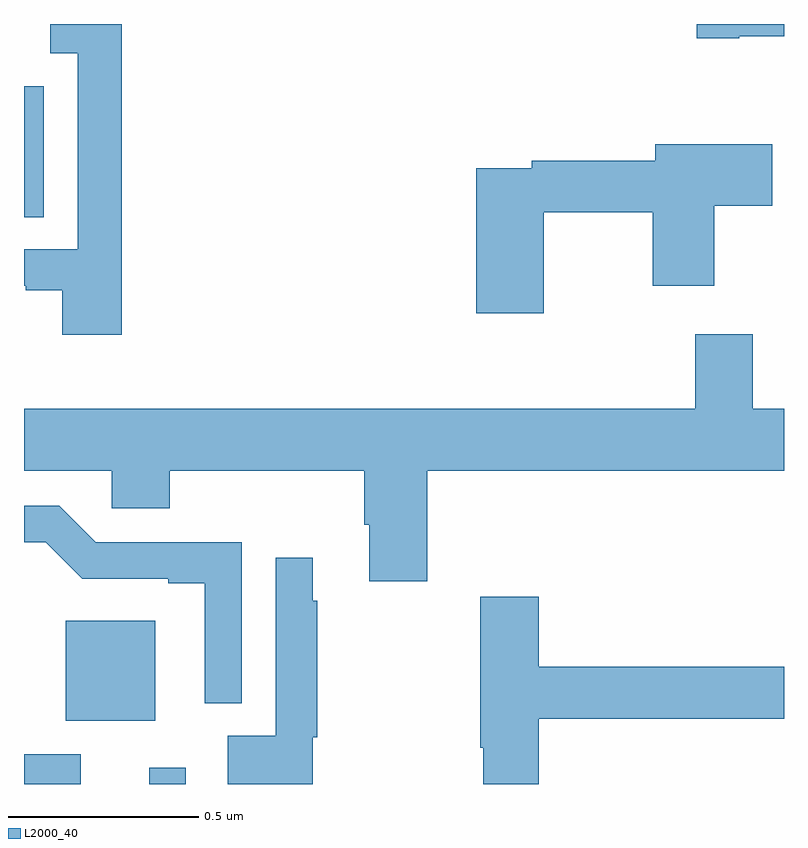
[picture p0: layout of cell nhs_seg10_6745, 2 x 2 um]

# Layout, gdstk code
import gdstk
lib = gdstk.Library(unit=1e-6, precision=1e-09)
def R(c, l, rs):  # rectangles x0, y0, x1, y1
    for r in rs: c.add(gdstk.rectangle(r[:2], r[2:], *l))
def P(c, l, *ps):  # polygons
    for p in ps: c.add(gdstk.Polygon(p, *l))
L2000_40 = (2000, 40)

nhs_seg10_6745 = lib.new_cell('nhs_seg10_6745')
R(nhs_seg10_6745, L2000_40, [(195,1291.5,195.149,1291.578), (195.329,1291.5,195.426,1291.543), (195.11,1291.667,195.346,1291.93), (195,1292.992,195.052,1293.336)])
P(nhs_seg10_6745, L2000_40, [(196.882,1293.468),(197,1293.468),(197,1293.5),(196.77,1293.5),(196.77,1293.463),(196.882,1293.463)],
  [(195.257,1293.5),(195.069,1293.5),(195.069,1293.423),(195.141,1293.423),(195.141,1292.907),(195,1292.907),(195,1292.811),(195.005,1292.811),(195.005,1292.799),(195.101,1292.799),(195.101,1292.682),(195.257,1292.682)],
  [(196.368,1293.004),(196.654,1293.004),(196.654,1292.811),(196.816,1292.811),(196.816,1293.022),(196.969,1293.022),(196.969,1293.184),(196.661,1293.184),(196.661,1293.14),(196.336,1293.14),(196.336,1293.12),(196.19,1293.12),(196.19,1292.739),(196.368,1292.739)],
  [(196.061,1292.324),(197,1292.324),(197,1292.488),(196.918,1292.488),(196.918,1292.683),(196.766,1292.683),(196.766,1292.488),(195,1292.488),(195,1292.324),(195.231,1292.324),(195.231,1292.226),(195.383,1292.226),(195.383,1292.324),(195.896,1292.324),(195.896,1292.182),(195.908,1292.182),(195.908,1292.034),(196.061,1292.034)],
  [(195.573,1292.136),(195.189,1292.136),(195.093,1292.232),(195,1292.232),(195,1292.136),(195.057,1292.136),(195.153,1292.04),(195.38,1292.04),(195.38,1292.028),(195.476,1292.028),(195.476,1291.712),(195.573,1291.712)],
  [(195.76,1291.623),(195.772,1291.623),(195.772,1291.982),(195.76,1291.982),(195.76,1292.095),(195.663,1292.095),(195.663,1291.627),(195.536,1291.627),(195.536,1291.5),(195.76,1291.5)],
  [(196.355,1291.672),(197,1291.672),(197,1291.808),(196.355,1291.808),(196.355,1291.993),(196.201,1291.993),(196.201,1291.595),(196.208,1291.595),(196.208,1291.5),(196.355,1291.5)])

lib.write_gds('nhs_seg10_6745.gds')
